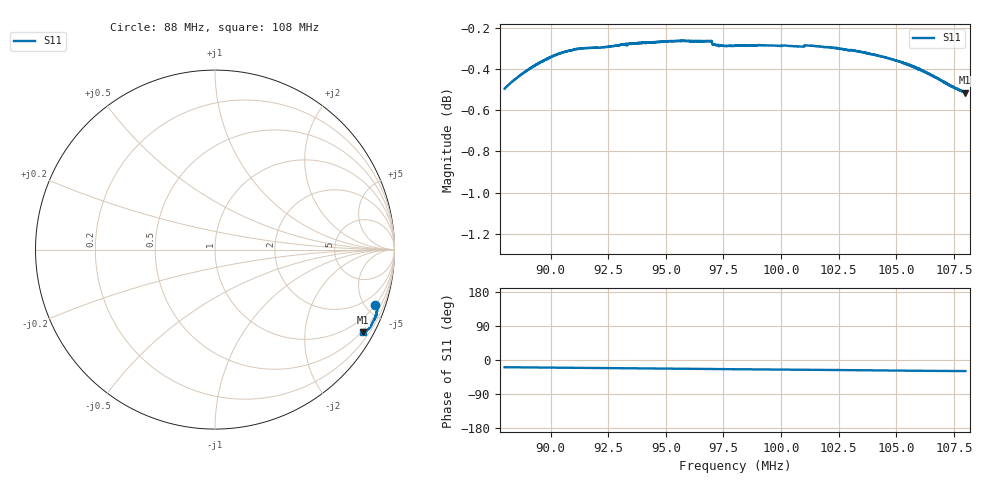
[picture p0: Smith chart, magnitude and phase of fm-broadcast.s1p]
! Calibrated averaged scanner-service zoom
# Hz S RI R 50
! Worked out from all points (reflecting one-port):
!   2001 points, 88 MHz to 108 MHz, reference 50 ohm
!   lowest |S11| = -0.5 dB at 108 MHz (marker M1), VSWR 33.75, Z = 23 - j189 ohm
!   phase of S11 starts at -19 deg and turns -10 deg over the sweep
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8.8e7  0.893 -0.3079
8.869e7  0.8982 -0.3152
8.922e7  0.9008 -0.3213
8.984e7  0.9027 -0.3286
9.05e7  0.9032 -0.3362
9.111e7  0.9027 -0.3436
9.154e7  0.9014 -0.3479
9.213e7  0.8998 -0.3529
9.3e7  0.8987 -0.3595
9.39e7  0.8969 -0.367
9.55e7  0.8931 -0.379
9.69e7  0.8885 -0.3892
9.714e7  0.8851 -0.3919
9.754e7  0.8829 -0.3953
9.8e7  0.8815 -0.3986
9.96e7  0.8764 -0.4105
1.005e8  0.8732 -0.4163
1.009e8  0.8716 -0.4191
1.0111e8  0.8717 -0.4204
1.013e8  0.8708 -0.4218
1.03e8  0.8616 -0.4347
1.0416e8  0.8544 -0.4432
1.055e8  0.8436 -0.4523
1.0609e8  0.8388 -0.4555
1.0664e8  0.8338 -0.458
1.0735e8  0.8269 -0.4593
1.0797e8  0.8225 -0.4602
1.08e8  0.8225 -0.4606
